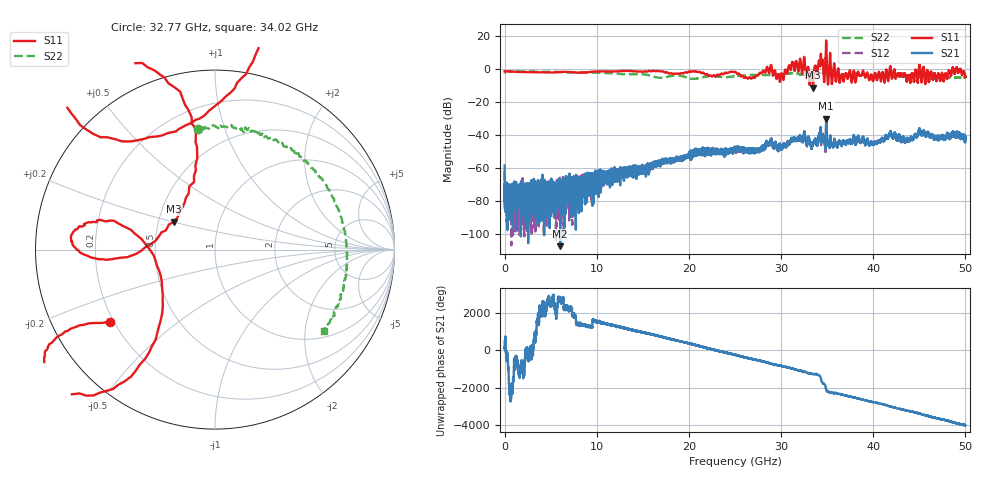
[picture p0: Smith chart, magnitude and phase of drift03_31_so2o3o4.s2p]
!Created with skrf (http://scikit-rf.org).
# Hz S RI R 50.0
!freq ReS11 ImS11 ReS21 ImS21 ReS12 ImS12 ReS22 ImS22
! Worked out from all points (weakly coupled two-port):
!   10001 points, 300 kHz to 50 GHz, reference 50 ohm
!   highest |S21| = -29.95 dB at 34.89 GHz (marker M1); lowest = -107.4 dB at 6.03 GHz (marker M2)
!   lowest |S11| = -11.2 dB at 33.47 GHz (marker M3), VSWR 1.76, Z = 30.2 + j10.1 ohm
!   |S11| at or under -10 dB: 33.44832 GHz to 33.48607 GHz (37.74 MHz wide, 0.113 % of centre)
!   |S22| runs from -5.9 to -1.3 dB; largest |S21 - S12| = 0.007
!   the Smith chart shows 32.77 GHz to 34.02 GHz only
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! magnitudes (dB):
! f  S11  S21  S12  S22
! 300 kHz  -1.3  -58.4  -62.3  -2.0
! 255.3 MHz  -1.3  -70.9  -81.7  -1.4
! 545.3 MHz  -1.4  -78.6  -80.8  -1.5
! 6.03 GHz  -1.7  -107.4  -73.3  -1.8
! 8.335 GHz  -2.2  -69.0  -74.8  -1.9
! 16.67 GHz  -1.1  -57.1  -56.6  -5.2
! 21.31 GHz  -2.3  -50.6  -49.5  -5.1
! 25 GHz  -1.5  -47.0  -47.8  -4.3
! 26.92 GHz  -4.9  -50.8  -48.5  -3.5
! 28.73 GHz  -2.2  -45.2  -45.1  -3.5
! 30.06 GHz  -2.5  -47.8  -47.9  -2.8
! 31.87 GHz  -1.5  -42.5  -42.2  -2.9
! 33.34 GHz  -2.2  -47.7  -47.3  -2.9
! 33.47 GHz  -11.2  -44.2  -44.7  -2.8
! 34.29 GHz  6.0  -35.4  -36.5  -2.3
! 34.89 GHz  17.4  -29.9  -31.6  -2.4
! 36.58 GHz  -3.4  -46.0  -45.7  -3.6
! 40.14 GHz  -3.2  -44.8  -44.3  -3.8
! 41.67 GHz  -5.6  -41.2  -40.7  -3.7
! 47.06 GHz  -2.7  -42.3  -42.4  -5.1
! 49.21 GHz  -2.0  -39.1  -39.8  -5.2
! 50 GHz  -4.8  -42.3  -42.5  -5.0
